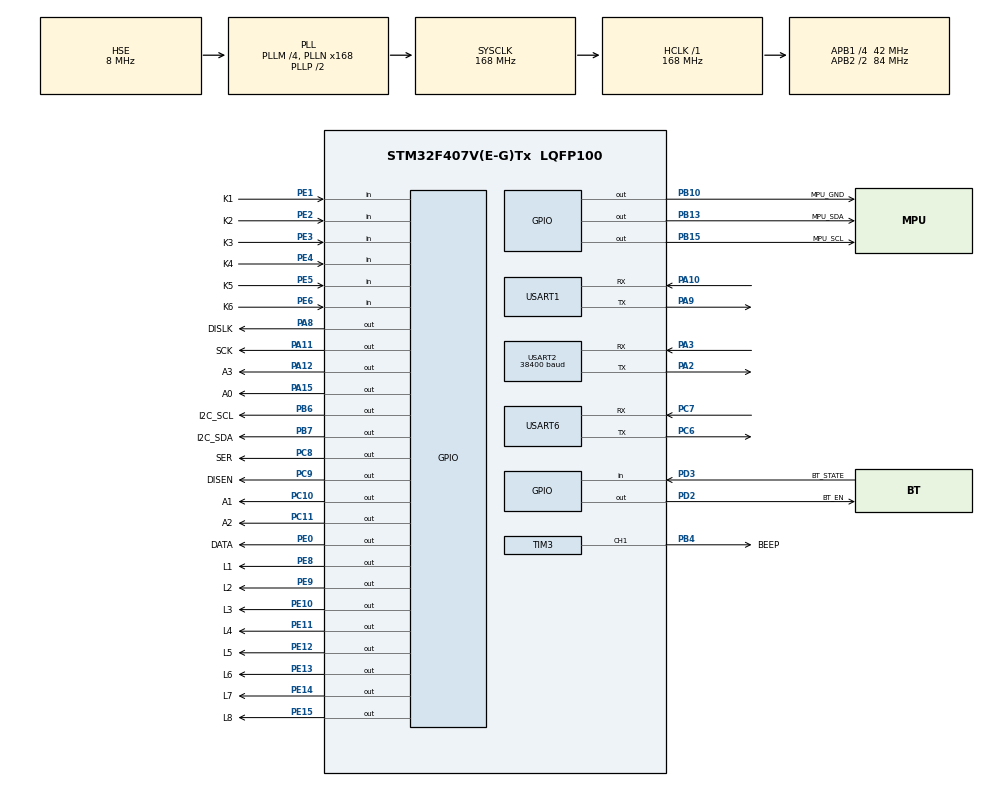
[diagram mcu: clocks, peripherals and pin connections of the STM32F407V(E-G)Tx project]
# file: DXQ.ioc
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Dma.Request0=USART2_RX
Dma.Request1=USART6_RX
Dma.Request2=USART1_RX
Dma.USART1_RX.2.Direction=DMA_PERIPH_TO_MEMORY
Dma.USART1_RX.2.FIFOMode=DMA_FIFOMODE_DISABLE
Dma.USART1_RX.2.Instance=DMA2_Stream2
Dma.USART1_RX.2.MemDataAlignment=DMA_MDATAALIGN_BYTE
Dma.USART1_RX.2.MemInc=DMA_MINC_ENABLE
Dma.USART1_RX.2.Mode=DMA_NORMAL
Dma.USART1_RX.2.PeriphDataAlignment=DMA_PDATAALIGN_BYTE
Dma.USART1_RX.2.PeriphInc=DMA_PINC_DISABLE
Dma.USART1_RX.2.Priority=DMA_PRIORITY_LOW
Dma.USART2_RX.0.Direction=DMA_PERIPH_TO_MEMORY
Dma.USART2_RX.0.FIFOMode=DMA_FIFOMODE_DISABLE
Dma.USART2_RX.0.Instance=DMA1_Stream5
Dma.USART2_RX.0.MemDataAlignment=DMA_MDATAALIGN_BYTE
Dma.USART2_RX.0.MemInc=DMA_MINC_ENABLE
Dma.USART2_RX.0.Mode=DMA_NORMAL
Dma.USART2_RX.0.PeriphDataAlignment=DMA_PDATAALIGN_BYTE
Dma.USART2_RX.0.PeriphInc=DMA_PINC_DISABLE
Dma.USART2_RX.0.Priority=DMA_PRIORITY_LOW
Dma.USART6_RX.1.Direction=DMA_PERIPH_TO_MEMORY
Dma.USART6_RX.1.FIFOMode=DMA_FIFOMODE_DISABLE
Dma.USART6_RX.1.Instance=DMA2_Stream1
Dma.USART6_RX.1.MemDataAlignment=DMA_MDATAALIGN_BYTE
Dma.USART6_RX.1.MemInc=DMA_MINC_ENABLE
Dma.USART6_RX.1.Mode=DMA_NORMAL
Dma.USART6_RX.1.PeriphDataAlignment=DMA_PDATAALIGN_BYTE
Dma.USART6_RX.1.PeriphInc=DMA_PINC_DISABLE
Dma.USART6_RX.1.Priority=DMA_PRIORITY_LOW
FREERTOS.Tasks01=MainTask,24,512,StartMainTask,Default,NULL,Dynamic,NULL,NULL;KeyTask,24,512,StartKeyTask,Default,NULL,Dynamic,NULL,NULL;UartTask,24,1024,StartUartTask,Default,NULL,Dynamic,NULL,NULL;GUITask,24,1024,StartGUITask,Default,NULL,Dynamic,NULL,NULL;DataTask,24,1024,StartDataTask,Default,NULL,Dynamic,NULL,NULL
FREERTOS.configTOTAL_HEAP_SIZE=30000
Mcu.Family=STM32F4
Mcu.Name=STM32F407V(E-G)Tx
Mcu.Package=LQFP100
NVIC.DMA1_Stream5_IRQn=true\:5\:0\:false\:false\:true\:true\:false\:true
NVIC.DMA2_Stream1_IRQn=true\:5\:0\:false\:false\:true\:true\:false\:true
NVIC.DMA2_Stream2_IRQn=true\:5\:0\:false\:false\:true\:true\:false\:true
NVIC.PriorityGroup=NVIC_PRIORITYGROUP_4
NVIC.TIM7_IRQn=true\:0\:0\:false\:false\:true\:false\:false\:true
NVIC.TimeBase=TIM7_IRQn
NVIC.TimeBaseIP=TIM7
NVIC.USART1_IRQn=true\:5\:0\:false\:false\:true\:true\:true\:true
NVIC.USART2_IRQn=true\:5\:0\:false\:false\:true\:true\:true\:true
NVIC.USART6_IRQn=true\:5\:0\:false\:false\:true\:true\:true\:true
PA10.Mode=Asynchronous
PA10.Signal=USART1_RX
PA11.GPIO_Label=SCK
PA11.Signal=GPIO_Output
PA12.GPIO_Label=A3
PA12.Signal=GPIO_Output
PA13.Mode=Serial_Wire
PA13.Signal=SYS_JTMS-SWDIO
PA14.Mode=Serial_Wire
PA14.Signal=SYS_JTCK-SWCLK
PA15.GPIO_Label=A0
PA15.Signal=GPIO_Output
PA2.Mode=Asynchronous
PA2.Signal=USART2_TX
PA3.Mode=Asynchronous
PA3.Signal=USART2_RX
PA8.GPIO_Label=DISLK
PA8.Signal=GPIO_Output
PA9.Mode=Asynchronous
PA9.Signal=USART1_TX
PB10.GPIO_Label=MPU_GND
PB10.Signal=GPIO_Output
PB13.GPIO_Label=MPU_SDA
PB13.GPIO_ModeDefaultOutputPP=GPIO_MODE_OUTPUT_OD
PB13.Signal=GPIO_Output
PB15.GPIO_Label=MPU_SCL
PB15.GPIO_ModeDefaultOutputPP=GPIO_MODE_OUTPUT_OD
PB15.Signal=GPIO_Output
PB4.GPIO_Label=BEEP
PB4.Signal=S_TIM3_CH1
PB6.GPIO_Label=I2C_SCL
PB6.GPIO_ModeDefaultOutputPP=GPIO_MODE_OUTPUT_OD
PB6.Signal=GPIO_Output
PB7.GPIO_Label=I2C_SDA
PB7.GPIO_ModeDefaultOutputPP=GPIO_MODE_OUTPUT_OD
PB7.Signal=GPIO_Output
PC10.GPIO_Label=A1
PC10.Signal=GPIO_Output
PC11.GPIO_Label=A2
PC11.Signal=GPIO_Output
PC6.Mode=Asynchronous
PC6.Signal=USART6_TX
PC7.Mode=Asynchronous
PC7.Signal=USART6_RX
PC8.GPIO_Label=SER
PC8.Signal=GPIO_Output
PC9.GPIO_Label=DISEN
PC9.Signal=GPIO_Output
PD2.GPIO_Label=BT_EN
PD2.Signal=GPIO_Output
PD3.GPIO_Label=BT_STATE
PD3.Signal=GPIO_Input
PE0.GPIO_Label=DATA
PE0.Signal=GPIO_Output
PE1.GPIO_Label=K1
PE1.GPIO_Mode=GPIO_MODE_INPUT
PE1.GPIO_PuPd=GPIO_PULLUP
PE1.Signal=GPIO_Input
PE10.GPIO_Label=L3
PE10.GPIO_ModeDefaultOutputPP=GPIO_MODE_OUTPUT_PP
PE10.GPIO_Speed=GPIO_SPEED_FREQ_LOW
PE10.PinState=GPIO_PIN_SET
PE10.Signal=GPIO_Output
PE11.GPIO_Label=L4
PE11.GPIO_ModeDefaultOutputPP=GPIO_MODE_OUTPUT_PP
PE11.GPIO_Speed=GPIO_SPEED_FREQ_LOW
PE11.PinState=GPIO_PIN_SET
PE11.Signal=GPIO_Output
PE12.GPIO_Label=L5
PE12.GPIO_ModeDefaultOutputPP=GPIO_MODE_OUTPUT_PP
PE12.GPIO_Speed=GPIO_SPEED_FREQ_LOW
PE12.PinState=GPIO_PIN_SET
PE12.Signal=GPIO_Output
PE13.GPIO_Label=L6
PE13.GPIO_ModeDefaultOutputPP=GPIO_MODE_OUTPUT_PP
PE13.GPIO_Speed=GPIO_SPEED_FREQ_LOW
PE13.PinState=GPIO_PIN_SET
PE13.Signal=GPIO_Output
PE14.GPIO_Label=L7
PE14.GPIO_ModeDefaultOutputPP=GPIO_MODE_OUTPUT_PP
PE14.GPIO_Speed=GPIO_SPEED_FREQ_LOW
PE14.PinState=GPIO_PIN_SET
PE14.Signal=GPIO_Output
PE15.GPIO_Label=L8
PE15.GPIO_ModeDefaultOutputPP=GPIO_MODE_OUTPUT_PP
PE15.GPIO_Speed=GPIO_SPEED_FREQ_LOW
PE15.PinState=GPIO_PIN_SET
PE15.Signal=GPIO_Output
PE2.GPIO_Label=K2
PE2.GPIO_Mode=GPIO_MODE_INPUT
PE2.GPIO_PuPd=GPIO_PULLUP
PE2.Signal=GPIO_Input
PE3.GPIO_Label=K3
PE3.GPIO_Mode=GPIO_MODE_INPUT
PE3.GPIO_PuPd=GPIO_PULLUP
PE3.Signal=GPIO_Input
PE4.GPIO_Label=K4
PE4.GPIO_Mode=GPIO_MODE_INPUT
PE4.GPIO_PuPd=GPIO_PULLUP
PE4.Signal=GPIO_Input
PE5.GPIO_Label=K5
PE5.GPIO_Mode=GPIO_MODE_INPUT
PE5.GPIO_PuPd=GPIO_PULLDOWN
PE5.Signal=GPIO_Input
PE6.GPIO_Label=K6
PE6.GPIO_Mode=GPIO_MODE_INPUT
PE6.GPIO_PuPd=GPIO_PULLDOWN
PE6.Signal=GPIO_Input
PE8.GPIO_Label=L1
PE8.GPIO_ModeDefaultOutputPP=GPIO_MODE_OUTPUT_PP
PE8.GPIO_Speed=GPIO_SPEED_FREQ_LOW
PE8.PinState=GPIO_PIN_SET
PE8.Signal=GPIO_Output
PE9.GPIO_Label=L2
PE9.GPIO_ModeDefaultOutputPP=GPIO_MODE_OUTPUT_PP
PE9.GPIO_Speed=GPIO_SPEED_FREQ_LOW
PE9.PinState=GPIO_PIN_SET
PE9.Signal=GPIO_Output
PH0-OSC_IN.Mode=HSE-External-Oscillator
PH0-OSC_IN.Signal=RCC_OSC_IN
PH1-OSC_OUT.Mode=HSE-External-Oscillator
PH1-OSC_OUT.Signal=RCC_OSC_OUT
ProjectManager.HeapSize=0x200
ProjectManager.StackSize=0x400
ProjectManager.TargetToolchain=MDK-ARM V5.27
RCC.48MHZClocksFreq_Value=84000000
RCC.AHBFreq_Value=168000000
RCC.APB1CLKDivider=RCC_HCLK_DIV4
RCC.APB1Freq_Value=42000000
RCC.APB1TimFreq_Value=84000000
RCC.APB2CLKDivider=RCC_HCLK_DIV2
RCC.APB2Freq_Value=84000000
RCC.APB2TimFreq_Value=168000000
RCC.CortexFreq_Value=168000000
RCC.HCLKFreq_Value=168000000
RCC.HSE_VALUE=8000000
RCC.HSI_VALUE=16000000
RCC.LSE_VALUE=32768
RCC.PLLM=4
RCC.PLLN=168
RCC.PLLSourceVirtual=RCC_PLLSOURCE_HSE
RCC.SYSCLKFreq_VALUE=168000000
RCC.SYSCLKSource=RCC_SYSCLKSOURCE_PLLCLK
RCC.VCOOutputFreq_Value=336000000
SH.S_TIM3_CH1.0=TIM3_CH1,PWM Generation1 CH1
TIM3.Channel-PWM\ Generation1\ CH1=TIM_CHANNEL_1
TIM3.Period=1000-1
TIM3.Prescaler=84-1
TIM3.Pulse-PWM\ Generation1\ CH1=500
USART1.VirtualMode=VM_ASYNC
USART2.BaudRate=38400
USART2.VirtualMode=VM_ASYNC
USART6.VirtualMode=VM_ASYNC
VP_FREERTOS_VS_CMSIS_V2.Mode=CMSIS_V2
VP_SYS_VS_tim7.Mode=TIM7
VP_TIM3_VS_ClockSourceINT.Mode=Internal
board=custom

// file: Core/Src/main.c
/* USER CODE BEGIN Header */
/**
  ******************************************************************************
  * @file           : main.c
  * @brief          : Main program body
  ******************************************************************************
  * @attention
  *
  * <h2><center>&copy; Copyright (c) 2021 STMicroelectronics.
  * All rights reserved.</center></h2>
  *
  * This software component is licensed by ST under Ultimate Liberty license
  * SLA0044, the "License"; You may not use this file except in compliance with
  * the License. You may obtain a copy of the License at:
  *                             www.st.com/SLA0044
  *
  ******************************************************************************
  */
/* USER CODE END Header */
#include "main.h"
#include "cmsis_os.h"
#include "dma.h"
#include "tim.h"
#include "usart.h"
#include "gpio.h"

void SystemClock_Config(void);
void MX_FREERTOS_Init(void);

int main(void)
{

  /* MCU Configuration--------------------------------------------------------*/

  /* Reset of all peripherals, Initializes the Flash interface and the Systick. */
  HAL_Init();

  /* Configure the system clock */
  SystemClock_Config();

  /* Initialize all configured peripherals */
  MX_GPIO_Init();
  MX_DMA_Init();
  MX_USART1_UART_Init();
  MX_TIM3_Init();
  MX_USART2_UART_Init();
  MX_USART6_UART_Init();

  /* Init scheduler */
  osKernelInitialize();  /* Call init function for freertos objects (in freertos.c) */
  MX_FREERTOS_Init();
  /* Start scheduler */
  osKernelStart();

  /* We should never get here as control is now taken by the scheduler */
  /* Infinite loop */
    while(1)
    {

    }
}

void SystemClock_Config(void)
{
  RCC_OscInitTypeDef RCC_OscInitStruct = {0};
  RCC_ClkInitTypeDef RCC_ClkInitStruct = {0};

  /** Configure the main internal regulator output voltage
  */
  __HAL_RCC_PWR_CLK_ENABLE();
  __HAL_PWR_VOLTAGESCALING_CONFIG(PWR_REGULATOR_VOLTAGE_SCALE1);
  /** Initializes the RCC Oscillators according to the specified parameters
  * in the RCC_OscInitTypeDef structure.
  */
  RCC_OscInitStruct.OscillatorType = RCC_OSCILLATORTYPE_HSE;
  RCC_OscInitStruct.HSEState = RCC_HSE_ON;
  RCC_OscInitStruct.PLL.PLLState = RCC_PLL_ON;
  RCC_OscInitStruct.PLL.PLLSource = RCC_PLLSOURCE_HSE;
  RCC_OscInitStruct.PLL.PLLM = 4;
  RCC_OscInitStruct.PLL.PLLN = 168;
  RCC_OscInitStruct.PLL.PLLP = RCC_PLLP_DIV2;
  RCC_OscInitStruct.PLL.PLLQ = 4;
  if (HAL_RCC_OscConfig(&RCC_OscInitStruct) != HAL_OK)
  {
    Error_Handler();
  }
  /** Initializes the CPU, AHB and APB buses clocks
  */
  RCC_ClkInitStruct.ClockType = RCC_CLOCKTYPE_HCLK|RCC_CLOCKTYPE_SYSCLK
                              |RCC_CLOCKTYPE_PCLK1|RCC_CLOCKTYPE_PCLK2;
  RCC_ClkInitStruct.SYSCLKSource = RCC_SYSCLKSOURCE_PLLCLK;
  RCC_ClkInitStruct.AHBCLKDivider = RCC_SYSCLK_DIV1;
  RCC_ClkInitStruct.APB1CLKDivider = RCC_HCLK_DIV4;
  RCC_ClkInitStruct.APB2CLKDivider = RCC_HCLK_DIV2;

  if (HAL_RCC_ClockConfig(&RCC_ClkInitStruct, FLASH_LATENCY_5) != HAL_OK)
  {
    Error_Handler();
  }
}

 /**
  * @brief  Period elapsed callback in non blocking mode
  * @note   This function is called  when TIM7 interrupt took place, inside
  * HAL_TIM_IRQHandler(). It makes a direct call to HAL_IncTick() to increment
  * a global variable "uwTick" used as application time base.
  * @param  htim : TIM handle
  * @retval None
  */
void HAL_TIM_PeriodElapsedCallback(TIM_HandleTypeDef *htim)
{
  if (htim->Instance == TIM7) {
    HAL_IncTick();
  }
}

void Error_Handler(void)
{
    __disable_irq();
    while(1)
    {
    }
}

/************************ (C) COPYRIGHT STMicroelectronics *****END OF FILE****/

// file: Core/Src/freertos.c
/* USER CODE BEGIN Header */
/**
  ******************************************************************************
  * File Name          : freertos.c
  * Description        : Code for freertos applications
  ******************************************************************************
  * @attention
  *
  * <h2><center>&copy; Copyright (c) 2021 STMicroelectronics.
  * All rights reserved.</center></h2>
  *
  * This software component is licensed by ST under Ultimate Liberty license
  * SLA0044, the "License"; You may not use this file except in compliance with
  * the License. You may obtain a copy of the License at:
  *                             www.st.com/SLA0044
  *
  ******************************************************************************
  */
/* USER CODE END Header */

#include "FreeRTOS.h"
#include "task.h"
#include "main.h"
#include "cmsis_os.h"

/* USER CODE BEGIN Includes */
#include "gpio.h"
#include "GUI.h"
#include "tim.h"
#include "DS_18B20.h"
#include "MPU6050.h"
#include <stdio.h>
#include <string.h>
#include "Display_3D.h"
#include "COMM.h"
#include "HC05.h"
#include "math.h"
#include <stdlib.h>
/* USER CODE END Includes */

/* USER CODE BEGIN PD */
extern GUI_FLASH const GUI_FONT GUI_FontHZ_KaiTi_16;
extern GUI_FLASH const GUI_FONT GUI_FontHZ_SimSun_12;
extern GUI_CONST_STORAGE GUI_BITMAP bmTNB;
extern GUI_CONST_STORAGE GUI_BITMAP bmWYF;
/* USER CODE END PD */

/* USER CODE BEGIN Variables */
#define WS_LOGO 0
#define WS_GUI1 1
#define WS_GUI2 2
#define WS_GUI3 3
#define WS_GUI4 4

int g_ws = 0;
uint32_t intick = 0;
uint32_t tick = 0;
uint8_t leds_sta = 0x00;
uint32_t beeptick =0;
volatile float temp = 0;
uint8_t tempwarn = 0;
uint8_t mpuwarn =0;
uint8_t pageidx = 0;
uint32_t warntick = 0;
uint32_t interval = 50;//数据采集间隔
bool flag = true;

float tempLmt = 32.0f; //温度上限
uint16_t g_upstep = 100;//上传时间间隔
uint8_t g_mpustep = 7;//振动检测灵敏度
uint8_t g_warntime = 30;//报警时长
uint8_t g_paridx = 0;//参数索引
uint8_t g_bUping = 0;

#define SEND_LED_TIME 50
#define RECV_LED_TIME 100
uint32_t send_data = 0;
uint32_t recv_data = 0;
bool send_flag = false;
bool recv_flag = false;
bool init_flag = false;
uint32_t recv_tick = 0;
uint32_t send_tick = 0;

#define MAX_DATALEN 80
float vTemp[MAX_DATALEN];
int cTemp = 0;
float vPitch[MAX_DATALEN];
int cPitch = 0;
float vRoll[MAX_DATALEN];
int cRoll = 0;
float vYaw[MAX_DATALEN];
int cYaw = 0;

unsigned char TAB_TANG[128] = {	/* 笑脸 0xccc0*/
0x00,0x00,0x00,0x00,0x00,0x80,0xC0,0xE0,0xE0,0xF0,0xF0,0x78,0x38,0x38,0x38,0x38,
0x38,0x38,0x38,0x38,0x78,0xF0,0xF0,0xE0,0xE0,0xC0,0x80,0x00,0x00,0x00,0x00,0x00,
0x00,0x00,0x00,0xF8,0xFE,0xFF,0x0F,0x07,0x01,0x00,0xF0,0xF0,0xF0,0xF0,0x00,0x00,
0x00,0x00,0xF0,0xF0,0xF0,0xF0,0x00,0x01,0x07,0x0F,0xFF,0xFE,0xF8,0x00,0x00,0x00,
0x00,0x00,0x00,0x1F,0x7F,0xFF,0xF0,0xE0,0x88,0x18,0x38,0x30,0x70,0x60,0x60,0x60,
0x60,0x60,0x60,0x70,0x30,0x38,0x18,0x88,0xE0,0xF0,0xFF,0x7F,0x1F,0x00,0x00,0x00,
0x00,0x00,0x00,0x00,0x00,0x01,0x03,0x07,0x07,0x0F,0x0F,0x1E,0x1C,0x1C,0x1C,0x1C,
0x1C,0x1C,0x1C,0x1C,0x1E,0x0F,0x0F,0x07,0x07,0x03,0x01,0x00,0x00,0x00,0x00,0x00
};

/* USER CODE END Variables */
/* Definitions for MainTask */
osThreadId_t MainTaskHandle;
const osThreadAttr_t MainTask_attributes = {
  .name = "MainTask",
  .stack_size = 512 * 4,
  .priority = (osPriority_t) osPriorityNormal,
};
/* Definitions for KeyTask */
osThreadId_t KeyTaskHandle;
const osThreadAttr_t KeyTask_attributes = {
  .name = "KeyTask",
  .stack_size = 512 * 4,
  .priority = (osPriority_t) osPriorityNormal,
};
/* Definitions for UartTask */
osThreadId_t UartTaskHandle;
const osThreadAttr_t UartTask_attributes = {
  .name = "UartTask",
  .stack_size = 1024 * 4,
  .priority = (osPriority_t) osPriorityNormal,
};
/* Definitions for GUITask */
osThreadId_t GUITaskHandle;
const osThreadAttr_t GUITask_attributes = {
  .name = "GUITask",
  .stack_size = 1024 * 4,
  .priority = (osPriority_t) osPriorityNormal,
};
/* Definitions for DataTask */
osThreadId_t DataTaskHandle;
const osThreadAttr_t DataTask_attributes = {
  .name = "DataTask",
  .stack_size = 1024 * 4,
  .priority = (osPriority_t) osPriorityNormal,
};

/* USER CODE BEGIN FunctionPrototypes */
void WSLogo(void);
void DrawLogo(void);
void DrawGUI1(void);
void DrawGUI2(void);
void DrawGUI3(void);
void DrawGUI4(void);
void BeepWork(int time, int tune);
void DispSeg(uint8_t num[4], uint8_t dot);
void BeepDone(void);
void InitHC05(void);
float BtoKB(float x);
/* USER CODE END FunctionPrototypes */

void StartMainTask(void *argument);
void StartKeyTask(void *argument);
void StartUartTask(void *argument);
void StartGUITask(void *argument);
void StartDataTask(void *argument);

void MX_FREERTOS_Init(void); /* (MISRA C 2004 rule 8.1) */

void MX_FREERTOS_Init(void) {

  /* Create the thread(s) */
  /* creation of MainTask */
  MainTaskHandle = osThreadNew(StartMainTask, NULL, &MainTask_attributes);

  /* creation of KeyTask */
  KeyTaskHandle = osThreadNew(StartKeyTask, NULL, &KeyTask_attributes);

  /* creation of UartTask */
  UartTaskHandle = osThreadNew(StartUartTask, NULL, &UartTask_attributes);

  /* creation of GUITask */
  GUITaskHandle = osThreadNew(StartGUITask, NULL, &GUITask_attributes);

  /* creation of DataTask */
  DataTaskHandle = osThreadNew(StartDataTask, NULL, &DataTask_attributes);

}

void StartMainTask(void *argument)
{
  /* USER CODE BEGIN StartMainTask */
	uint8_t num[4]={0};
  /* Infinite loop */
  for(;;)
  {
		switch(g_ws)
		{
			case WS_LOGO:
				WSLogo();
				break;
			default:
				break;
		}
		if(g_ws != WS_LOGO)
		{
			if((tempwarn || mpuwarn) && g_warntime > 0)
			{
				if(0 == warntick)
					warntick = osKernelGetTickCount();
				else if(osKernelGetTickCount() >= warntick + 1000 * g_warntime)
				{
					tempwarn = mpuwarn = 0;
					warntick = 0;
				}
				else
				{
					uint32_t tic = warntick + 1000 * g_warntime - osKernelGetTickCount();
					num[0] = (tic / 10000) % 10;
					num[1] = (tic / 1000) % 10;
					num[2] = (tic / 100) % 10;
					num[3] = (tic / 10) % 10;
					if(num[2] == 1 || num[2] == 3 || num[2] == 5)
					{
						int warnflag = (tempwarn?1:0)+(mpuwarn?2:0);
						switch(warnflag)
						{
							default:
								break;
							case 1:
								BeepWork(100,1);
							break;
							case 2:
								BeepWork(200,3);
							break;
							case 3:
								BeepWork(100,num[2]);
							break;
						}
					}
				}
			}
			else
				num[0] = num[1] = num[2] = num[3] = ' ';
			DispSeg(num,2);
		}
		BeepDone();

		if(recv_flag)
		{
			HAL_GPIO_WritePin(L3_GPIO_Port, L3_Pin, GPIO_PIN_RESET);
			if(osKernelGetTickCount() >= recv_tick + RECV_LED_TIME)
			{
				HAL_GPIO_WritePin(L3_GPIO_Port, L3_Pin, GPIO_PIN_SET);
				recv_flag = false;
				recv_tick = 0;
			}
		}
		if(send_flag)
		{
			HAL_GPIO_WritePin(L1_GPIO_Port, L1_Pin, GPIO_PIN_RESET);
			if(osKernelGetTickCount() >= send_tick + g_upstep * 0.1)
			{
				HAL_GPIO_WritePin(L1_GPIO_Port, L1_Pin, GPIO_PIN_SET);
				send_flag = false;
				send_tick = 0;
			}
		}

    osDelay(1);
  }
  /* USER CODE END StartMainTask */
}

void StartKeyTask(void *argument)
{
  /* USER CODE BEGIN StartKeyTask */
  /* Infinite loop */
	uint32_t keytick = 0;
  for(;;)
  {
		uint8_t key = ScanKey();

		if(tempwarn || mpuwarn)
		{
			if(g_keysta == (KEY1 | KEY2 | KEY3 | KEY4))
			{
				if(0 == keytick)
					keytick = osKernelGetTickCount();
				else if(osKernelGetTickCount() >= keytick + 3000)
				{
					tempwarn = mpuwarn = 0;
					warntick = 0;
				}
			}
			else
				keytick = 0;
			key = 0xff;//按键无效
		}
		else
			keytick = 0;

		/*
		if(tempwarn || mpuwarn)
		{
			key = 0xff;
			if(keyLongPress())
			{
				tempwarn = mpuwarn = 0;
				warntick = 0;
				f1 = 1; f2 = 1;
			}
		}
		else
			key = ScanKey();
		*/

		switch(g_ws)
		{
			case WS_LOGO:
				if(KEY5 == key)
				{
					g_ws = WS_GUI1;
					BeepWork(500,1);
					SetLeds(0x00);
				}
				break;
			case WS_GUI1:
				if(KEY6 == key)
				{
					g_ws = WS_LOGO;
					intick = 0;
				}
				if(KEY1 == key)
				{
					g_ws = WS_GUI4;
					pageidx = 0;
				}
				else if(KEY4 == key)
				{
					g_ws = WS_GUI2;
					pageidx = 0;
				}
				else if(KEY2 == key)
				{
					if(pageidx > 0)
						--pageidx;
				}
				else if(KEY3 == key)
				{
					if(pageidx < 2)
						++pageidx;
				}
				break;

			case WS_GUI2:
				if(KEY6 == key)
				{
					g_ws = WS_LOGO;
					intick = 0;
				}
				else if(KEY1 == key)
				{
					g_ws = WS_GUI1;
					pageidx = 0;
				}
				else if(KEY4 == key)
				{
					g_ws = WS_GUI3;
					//InitHC05();
					pageidx = 0;
				}
				else if(KEY2 == key)
				{
					if(pageidx > 0)
						--pageidx;
				}
				else if(KEY3 == key)
				{
					if(pageidx < 4)
						++pageidx;
				}
				else if(KEY5 == key)
				{
					(interval == 50) ? (interval = 500) : (interval = 50);
				}
				break;

			case WS_GUI3:
				if(KEY1 == key)
				{
					g_ws = WS_GUI2;
					pageidx = 0;
				}
				else if(KEY4 == key)
				{
					g_ws = WS_GUI4;
					pageidx = 0;
				}
				else if(KEY2 == key)
					g_bUping = 1;
				else if(KEY3 == key)
					g_bUping = 0;
				else if(KEY5 == key)
				{
					if(0 == pageidx)
					{
						//初始化HC05工作模式
						InitHC05();
					}
					else if(1 == pageidx)
					{
						send_data = 0;
						recv_data = 0;
					}
				}
				else if(KEY6 == key)
				{
					pageidx == 0 ? (pageidx = 1) : (pageidx = 0);
				}
				break;

			case WS_GUI4:
				if(KEY6 == key)
				{
					g_ws = WS_LOGO;
					intick = 0;
				}
				if(KEY1 == key)
				{
					g_ws = WS_GUI3;
					//InitHC05();
					pageidx = 0;
				}
				else if(KEY4 == key)
				{
					g_ws = WS_GUI1;
					pageidx = 0;
				}
				else if(KEY5 == key)
				{
					++g_paridx;
					g_paridx %= 4;
				}
				else if(KEY2 == key)
				{
					if(0 == g_paridx)
					{
						if(tempLmt < 90)
							tempLmt += 1;
					}
					if(1 == g_paridx)
					{
						if(g_mpustep < 9)
							++g_mpustep;
					}
					if(2 == g_paridx)
					{
						if(g_warntime < 60)
							++g_warntime;
					}
					if(3 == g_paridx)
					{
						if(g_upstep < 10000)
							g_upstep += 100;
					}
				}
				else if(KEY3 == key)
				{
					if(0 == g_paridx)
					{
						if(tempLmt >0)
							tempLmt -= 1;
					}
					if(1 == g_paridx)
					{
						if(g_mpustep > 0)
							--g_mpustep;
					}
					if(2 == g_paridx)
					{
						if(g_warntime > 0)
							--g_warntime;
					}
					if(3 == g_paridx)
					{
						if(g_upstep > 100)
							g_upstep -= 100;
					}
				}

				break;

			default:
				break;
		}
    osDelay(10);
  }
  /* USER CODE END StartKeyTask */
}

void StartUartTask(void *argument)
{
  /* USER CODE BEGIN StartUartTask */
  /* Infinite loop */
	StartRecvUart1();
	HC05_Init();
  for(;;)
  {
		if(recv1_len > 0)
		{
			printf("%s", recv1_buff);
			recv1_len = 0;
		}

		HC05_Proc();
		if(hc05.recv_len > 0 )
		{
			printf("%s", hc05.recv_data);
			char *pb = (char *)(hc05.recv_data);
			char buf[50];
			if('Q' == pb[0] && 'P' == pb[1] && 'A' == pb[2] && 'R' == pb[3])
			{
				//查询参数，应答
				sprintf(buf,"P1:%.0f,P2:%d,P3:%d,P4:%d\n",tempLmt,g_mpustep,g_warntime,g_upstep);
				USendStr(&huart2,(uint8_t *)buf,strlen(buf));
				if(!hc05.bat)
				{
					send_data += strlen(buf);
					send_flag = true;
					send_tick = osKernelGetTickCount();
				}
			}
			else if('P' == pb[0] && '1' == pb[1] && ':' == pb[2])
			{
				//参数设置
				tempLmt = atof(pb + 3);
				pb = strstr(pb, "P2:");
				if(pb)
				{
					g_mpustep = atoi(pb + 3);
					pb = strstr(pb, "P3:");
					if(pb)
					{
						g_warntime = atoi(pb + 3);
						pb = strstr(pb, "P4:");
						if(pb)
						{
							g_upstep = atoi(pb + 3);
							USendStr(&huart2,(uint8_t *)"OK\n",3);
							if(!hc05.bat)
							{
								send_data += 3;
								send_flag = true;
								send_tick = osKernelGetTickCount();
							}
						}
					}
				}
			}
			else if('I' == pb[0] && 'F' == pb[1] && 'U' == pb[2] && 'P' == pb[3])
			{
				g_bUping == 1 ? (g_bUping = 0) : (g_bUping = 1);
			}

			if(!hc05.bat)
			{
				recv_data += hc05.recv_len;
				if(!init_flag)
					recv_flag = true;

				recv_tick = osKernelGetTickCount();
			}
			hc05.recv_len = 0;

		}
    osDelay(1);
  }
  /* USER CODE END StartUartTask */
}

void StartGUITask(void *argument)
{
  /* USER CODE BEGIN StartGUITask */
	GUI_Init();
  /* Infinite loop */
  for(;;)
  {
		switch(g_ws)
		{
			case WS_LOGO: DrawLogo(); break;
			case WS_GUI1: DrawGUI1(); break;
			case WS_GUI2: DrawGUI2(); break;
			case WS_GUI3: DrawGUI3(); break;
			case WS_GUI4: DrawGUI4(); break;
			default: break;
		}
    osDelay(100);
  }

  /* USER CODE END StartGUITask */
}

void StartDataTask(void *argument)
{
  /* USER CODE BEGIN StartDataTask */
	osDelay(1000);
	ds18b20_init();
	uint8_t mpuok = MPU_init();
	uint8_t cnt = 0;
	while(cnt++ < 3 && !mpuok)
	{
		osDelay(500);
		mpuok = MPU_init();
	}

	InitHC05();

	uint32_t dstick = 0;
	uint32_t mputick = 0;
	uint32_t uptick = 0;
	int warncnt = 0;
  /* Infinite loop */
  for(;;)
  {
		if(osKernelGetTickCount() >= dstick + interval)
		{
			dstick = osKernelGetTickCount();
			float ft = ds18b20_read();
			if(ft < 125)
			{
				temp = ft;

				if(cTemp < MAX_DATALEN)
					vTemp[cTemp++] = temp;
				else
				{
					memcpy((void*)vTemp,(void*)(vTemp+1),sizeof(vTemp[0])*(MAX_DATALEN-1));
					vTemp[MAX_DATALEN-1] = temp;
				}

				if(temp >= tempLmt)
				{
					printf("temp:%.1f",temp);
					tempwarn = 1;
					//warntick = osKernelGetTickCount();
				}

			}
		}

		if(mpuok)
		{
			if(osKernelGetTickCount() >= mputick + interval)
			{
				flag = !flag;
				mputick = osKernelGetTickCount();
				MPU_getdata();
				if(flag || interval == 50)
				{
					//printf("1");
					if(cPitch < MAX_DATALEN)
						vPitch[cPitch++] = fAX;
					else
					{
						memcpy((void*)vPitch,(void*)(vPitch+1),sizeof(vPitch[0])*(MAX_DATALEN-1));
						vPitch[MAX_DATALEN-1] = fAX;
					}

					if(cRoll < MAX_DATALEN)
						vRoll[cRoll++] = fAY;
					else
					{
						memcpy((void*)vRoll,(void*)(vRoll+1),sizeof(vRoll[0])*(MAX_DATALEN-1));
						vRoll[MAX_DATALEN-1] = fAY;
					}

					if(cYaw < MAX_DATALEN)
						vYaw[cYaw++] = fAZ;
					else
					{
						memcpy((void*)vYaw,(void*)(vYaw+1),sizeof(vYaw[0])*(MAX_DATALEN-1));
						vYaw[MAX_DATALEN-1] = fAZ;
					}
				}

				//int ss = gx*gx+gy*gy+gz*gz;
				//printf("%d\n",ss);
				if(g_mpustep >0 && (gx*gx+gy*gy+gz*gz > 1000 * pow(4,(10 - g_mpustep))) && (g_mpustep != 0))
				{
					if(++warncnt >= 3)//test
					{
						mpuwarn = 1;
						//printf("333333333333333333333333333333333333\n");
						//printf("axyz:%6d %6d %6d,gxyz:%6d %6d %6d\n",ax, ay, az, gx, gy, gz);
						//warntick = osKernelGetTickCount();
					}
				}
				else
					warncnt = 0;
			}
		}

		if(HC05_IsConn() && g_bUping)
		{
			if(osKernelGetTickCount() >= uptick +g_upstep)
			{
				uptick = osKernelGetTickCount();
				char buf[100];
				sprintf(buf,"T:%4.1f,A:%6d %6d %6d,G:%6d %6d %6d,F:%5.1f %5.1f %5.1f,W:%d\n",
				temp,ax,ay,az,gx,gy,gz,fAX,fAY,fAZ,(tempwarn?1:0)+(mpuwarn?2:0));
				USendStr(&huart2,(uint8_t*)buf,strlen(buf));

				if(!hc05.bat)
				{
					send_data += strlen(buf);
					send_flag = true;
					send_tick = osKernelGetTickCount();
				}
			}

		}

    osDelay(1);
  }
  /* USER CODE END StartDataTask */
}

/* USER CODE BEGIN Application */
void WSLogo(void)
{
	SetLeds(leds_sta);
	if(osKernelGetTickCount() >= tick + 500)
	{
		leds_sta = ~leds_sta;
		tick = osKernelGetTickCount();
	}

	if(0 == intick)
		intick = osKernelGetTickCount();
	else if(osKernelGetTickCount() >= intick + 8000)
  {
		g_ws = WS_GUI1;
		SetLeds(0x00);
		BeepWork(500,1);
	}
}

void DrawLogo(void)
{
	if(0 == intick)
		intick = osKernelGetTickCount();
	else
	{
		if(osKernelGetTickCount() <=intick + 2000)
		{
			GUI_Clear();
			GUI_SetFont(&GUI_FontHZ_KaiTi_16);
			GUI_DispStringAt("专业实践",32,5);
			GUI_DispStringAt("综合设计II",20,25);
			GUI_DispStringAt("防火、防盗监测器",0,43);
			GUI_Update();
		}
		else if(osKernelGetTickCount() <= intick + 5000)
		{
			GUI_Clear();
			GUI_SetFont(&GUI_FontHZ_KaiTi_16);
			GUI_DispStringAt("成员1:汤宁标\n      18205223",0,0);
			GUI_DispStringAt("成员2:王宇凡\n      18205225",0,32);
			GUI_Update();
		}
		else if(osKernelGetTickCount() <= intick + 8000)
		{
			GUI_Clear();
			GUI_DrawBitmap(&bmTNB,0,0);
			GUI_DrawBitmap(&bmWYF,65,0);
			GUI_Update();
		}
		else
			intick = 0;
	}
}

void DrawGUI1(void)//菜单主界面
{
	GUI_Clear();
	GUI_SetFont(&GUI_FontHZ_SimSun_12);
	GUI_SetColor(GUI_COLOR_BLACK);
	GUI_DispStringAt("实时监测",0,0);
	GUI_SetColor(GUI_COLOR_WHITE);
	GUI_DispStringAt("数据曲线",0,13);
	GUI_DispStringAt("无线通信",0,26);
	GUI_DispStringAt("参数设置",0,39);
	GUI_DispStringAt("K1︽ K2《 K3》 K4︾",0,52);

	GUI_DrawHLine(52,0,128);
	GUI_DrawVLine(48,0,52);

	char buf[20];

	if(0 == pageidx)
	{

		GUI_DispStringAt("当前温度：",50, 0);
		GUI_DispStringAt("震动报警：",50, 26);
		sprintf(buf,"%.1f℃",temp);
		GUI_DispStringAt(buf, 90, 13);
		GUI_DispStringAt(mpuwarn ? "是":"否", 90, 39);
	}
	else if(1 == pageidx)
	{
		sprintf(buf,"ax:%6d",ax);
		GUI_DispStringAt(buf, 50, 0);
		if(ax > 0)
			GUI_FillRect(70, 13, 70 + ax * 55 / 32768, 16);
		else if(ax < 0)
			GUI_DrawRect(70, 13, 70 - ax * 55 / 32768, 16);

		sprintf(buf,"ay:%6d",ay);
		GUI_DispStringAt(buf, 50, 17);
		if(ay > 0)
			GUI_FillRect(70, 30, 70 + ay * 55 / 32768, 33);
		else if(ay < 0)
			GUI_DrawRect(70, 30, 70 - ay * 55 / 32768, 33);

		sprintf(buf,"az:%6d",az);
		GUI_DispStringAt(buf, 50, 34);
		if(az > 0)
			GUI_FillRect(70, 47, 70 + az * 55 / 32768, 50);
		else if(az < 0)
			GUI_DrawRect(70, 47, 70 - az * 55 / 32768, 50);
	}
	else if(2 == pageidx)
	{
		sprintf(buf,"gx:%6d",gx);
		GUI_DispStringAt(buf, 50, 0);
		if(gx > 0)
			GUI_FillRect(70, 13, 70 + gx * 55 / 32768, 16);
		else if(gx < 0)
			GUI_DrawRect(70, 13, 70 - gx * 55 / 32768, 16);

		sprintf(buf,"ay:%6d",gy);
		GUI_DispStringAt(buf, 50, 17);
		if(gy > 0)
			GUI_FillRect(70, 30, 70 + gy * 55 / 32768, 33);
		else if(gy < 0)
			GUI_DrawRect(70, 30, 70 - gy * 55 / 32768, 33);

		sprintf(buf,"gz:%6d",gz);
		GUI_DispStringAt(buf, 50, 34);
		if(gz > 0)
			GUI_FillRect(70, 47, 70 + gz * 55 / 32768, 50);
		else if(gz < 0)
			GUI_DrawRect(70, 47, 70 - gz * 55 / 32768, 50);
	}
	GUI_Update();
}

void DrawGUI2(void)//菜单主界面
{
	char buf1[20];
	char buf2[20];
	int i;

	GUI_Clear();
	GUI_SetFont(&GUI_FontHZ_SimSun_12);
	GUI_DispStringAt("实时监测",0,0);
	GUI_SetColor(GUI_COLOR_BLACK);
	GUI_DispStringAt("数据曲线",0,13);
	GUI_SetColor(GUI_COLOR_WHITE);
	GUI_DispStringAt("无线通信",0,26);
	GUI_DispStringAt("参数设置",0,39);
	GUI_DispStringAt("K1︽ K2《 K3》 K4︾",0,52);

	GUI_DrawHLine(52,0,128);
	GUI_DrawVLine(48,0,52);

	int sw = 128 - 48;
	int sh = 64 - 12 -12;
	int ox = 48;
	int oy = 12 + sh;

	switch(pageidx)
	{
		default:
			break;

		case 0:
		{
			float tempMin = 25;
			float tempMax = 35;

			int tt = (((int)(temp) + 2) / 5) * 5;
			tempMin = tt - 5;
			tempMax = tt + 5;

			float dh = sh / (tempMax-tempMin);
			sprintf(buf1,"温度:%.1f℃",temp);
			GUI_DispStringAt(buf1,50,0);

			if(tempLmt >= tempMin && tempLmt <= tempMax)
			{
				for(i = 0; i < MAX_DATALEN; i += 6)
					GUI_DrawHLine(oy - (tempLmt - tempMin) * dh, ox + i, ox + i + 3);
			}

			for(i = 0; i < cTemp && i< MAX_DATALEN; ++i)
				GUI_DrawLine(ox + i - 1, oy - (vTemp[i - 1] - tempMin) * dh, ox + i, oy - (vTemp[i] - tempMin) * dh);
			sprintf(buf2,"%dms",(interval==50)?interval:2*interval);
			GUI_DispStringAt(buf2,90,39);

		}
			break;
		case 1:
		{
			float tempMin = -90;
			float tempMax =  90;
			float dh = sh / (tempMax-tempMin);
			sprintf(buf1,"俯仰角:%.1f°",fAX);
			GUI_DispStringAt(buf1,50,0);
			GUI_DrawHLine(oy + tempMin * dh, ox, ox + sw);

			for(i = 0; i < cPitch && i< MAX_DATALEN; ++i)
				GUI_DrawLine(ox + i - 1, oy - (vPitch[i - 1] - tempMin) * dh, ox + i, oy - (vPitch[i] - tempMin) * dh);
			sprintf(buf2,"%dms",(interval==50)?interval:2*interval);
			GUI_DispStringAt(buf2,90,39);
		}
			break;

		case 2:
		{
			float tempMin = -180;
			float tempMax =  180;
			float dh = sh / (tempMax-tempMin);
			sprintf(buf1,"横滚角:%.1f°",fAY);
			GUI_DispStringAt(buf1,50,0);
			GUI_DrawHLine(oy + tempMin * dh, ox, ox + sw);

			for(i = 0; i < cRoll && i< MAX_DATALEN; ++i)
				GUI_DrawLine(ox + i - 1, oy - (vRoll[i - 1] - tempMin) * dh, ox + i, oy - (vRoll[i] - tempMin) * dh);
			sprintf(buf2,"%dms",(interval==50)?interval:2*interval);
			GUI_DispStringAt(buf2,90,39);
		}
			break;

		case 3:
		{
			float tempMin = -180;
			float tempMax =  180;
			float dh = sh / (tempMax-tempMin);
			sprintf(buf1,"航向角:%.1f°",fAZ);
			GUI_DispStringAt(buf1,50,0);
			GUI_DrawHLine(oy + tempMin * dh, ox, ox + sw);
			for(i = 0; i < cYaw && i< MAX_DATALEN; ++i)
				GUI_DrawLine(ox + i - 1, oy - (vYaw[i - 1] - tempMin) * dh, ox + i, oy - (vYaw[i] - tempMin) * dh);
			sprintf(buf2,"%dms",(interval==50)?interval:2*interval);
			GUI_DispStringAt(buf2,90,39);
		}
			break;

		case 4:
		{
			ox = (48 + 128) / 2;
			oy = (12 + 40) / 2 ;
			RateCube(fAY, -fAX, fAZ, GUI_COLOR_WHITE, ox, oy);
			//printf("fAX:%f",fAX);

			RotatePic32X32(TAB_TANG, fAY, -fAX, fAZ, GUI_COLOR_WHITE, ox -16, oy - 16);
		}
		break;
	}

	GUI_Update();
}

void DrawGUI3(void)//菜单主界面
{
	char send_buf[50];
	char recv_buf[50];
	float tsend_data = 0;
	float trecv_data = 0;
	GUI_Clear();
	GUI_SetFont(&GUI_FontHZ_SimSun_12);
	GUI_DispStringAt("实时监测",0,0);
	GUI_DispStringAt("数据曲线",0,13);
	GUI_SetColor(GUI_COLOR_BLACK);
	GUI_DispStringAt("无线通信",0,26);
	GUI_SetColor(GUI_COLOR_WHITE);
	GUI_DispStringAt("参数设置",0,39);
	GUI_DispStringAt("K1︽ K2《 K3》 K4︾",0,52);

	if(pageidx == 0)
	{
		GUI_DispStringAt((char*)(hc05.name),50,0);
		GUI_DispStringAt(HC05_IsConn() ? "已连接" : "未连接",50,16);
		GUI_DispStringAt(g_bUping ? "上传中" : "未上传",50,32);
	}
	else if(pageidx == 1)
	{
		if(send_data < 1024)
		{
			tsend_data = send_data;
			sprintf(send_buf,"SEND:%.0fB",tsend_data);
		}
		else
		{
			tsend_data = BtoKB(send_data);
			sprintf(send_buf,"SEND:%.2fKB",tsend_data);
		}
		GUI_DispStringAt(send_buf,50,0);

		if(recv_data < 1024)
		{
			trecv_data = recv_data;
			sprintf(recv_buf,"RECV:%.0fB",trecv_data);
		}
		else
		{
			trecv_data = BtoKB(recv_data);
			sprintf(recv_buf,"RECV:%.2fKB",trecv_data);
		}
		GUI_DispStringAt(recv_buf,50,13);

		GUI_DispStringAt("KEY5:CLEAN",50,39);
	}

	GUI_DrawHLine(52,0,128);
	GUI_DrawVLine(48,0,52);
	GUI_Update();
}

void DrawGUI4(void)//菜单主界面
{
	char buf[20];

	GUI_Clear();
	GUI_SetFont(&GUI_FontHZ_SimSun_12);

	GUI_DispStringAt("实时监测",0,0);
	GUI_DispStringAt("数据曲线",0,13);
	GUI_DispStringAt("无线通信",0,26);
	GUI_SetColor(GUI_COLOR_BLACK);
	GUI_DispStringAt("参数设置",0,39);
	GUI_SetColor(GUI_COLOR_WHITE);
	GUI_DispStringAt("K1︽ K2《 K3》 K4︾",0,52);

	GUI_DrawHLine(52,0,128);
	GUI_DrawVLine(48,0,52);

	GUI_DispStringAt("温度上限:",50,0);
	GUI_DispStringAt("震动灵敏度:",50,13);
	GUI_DispStringAt("报警时长:",50,26);
	GUI_DispStringAt("上传间隔:",50,39);

	sprintf(buf,"%.0f℃",tempLmt);
	if(0 == g_paridx)
		GUI_SetColor(GUI_COLOR_BLACK);
	GUI_DispStringAt(buf,104,0);
	GUI_SetColor(GUI_COLOR_WHITE);

	sprintf(buf,"%d",g_mpustep);
	if(1 == g_paridx)
		GUI_SetColor(GUI_COLOR_BLACK);
	GUI_DispStringAt(buf,116,13);
	GUI_SetColor(GUI_COLOR_WHITE);

	sprintf(buf,"%dS",g_warntime);
	if(2 == g_paridx)
		GUI_SetColor(GUI_COLOR_BLACK);
	GUI_DispStringAt(buf,104,26);
	GUI_SetColor(GUI_COLOR_WHITE);

	sprintf(buf,"%.1fS",g_upstep / 1000.0f);
	if(3 == g_paridx)
		GUI_SetColor(GUI_COLOR_BLACK);
	GUI_DispStringAt(buf,104,39);
	GUI_SetColor(GUI_COLOR_WHITE);

	GUI_Update();
}

void BeepWork(int time,int tune)
{
	static uint16_t TAB[] = {494, 523, 588, 660, 698, 784, 880, 988};//音阶对应频率
	HAL_TIM_Base_Start(&htim3);

	if(tune >= 1 && tune <= 7)
	{
		int pre = 1000000 / TAB[tune];
		__HAL_TIM_SET_AUTORELOAD(&htim3, pre);
		__HAL_TIM_SET_COMPARE(&htim3, TIM_CHANNEL_1, pre/2);

		beeptick = osKernelGetTickCount() + time;
		HAL_TIM_PWM_Start(&htim3, TIM_CHANNEL_1);
	}
}

void BeepDone(void)
{
	if(beeptick >0 && osKernelGetTickCount() >= beeptick)
	{
		beeptick = 0;
		HAL_TIM_PWM_Stop(&htim3, TIM_CHANNEL_1);
	}
}

void DispSeg(uint8_t num[4], uint8_t dot)
{
	for(int i=0;i<4;++i)
	{
		Write595(i,num[i],(dot==(i+1))?1:0);
		osDelay(1);
	}
}

void InitHC05(void)
{
	init_flag = true;
	uint32_t oldrecv_data = recv_data;
	if(HC05_IsOK())
	{
		HC05_SetRole(0);
		HC05_GetName();
		printf("HC05 Name:%s\n",hc05.name);
		HC05_AtMode(0);
		osDelay(100);
		if(recv_data != oldrecv_data)
			recv_data = oldrecv_data;
		init_flag = false;
	}
}

float BtoKB(float x)
{
	if(x < 1024)
		x = x;
	else if(x < 1024 * 1024)
		x /= 1024.0;
	return x;
}
/* USER CODE END Application */

/************************ (C) COPYRIGHT STMicroelectronics *****END OF FILE****/
